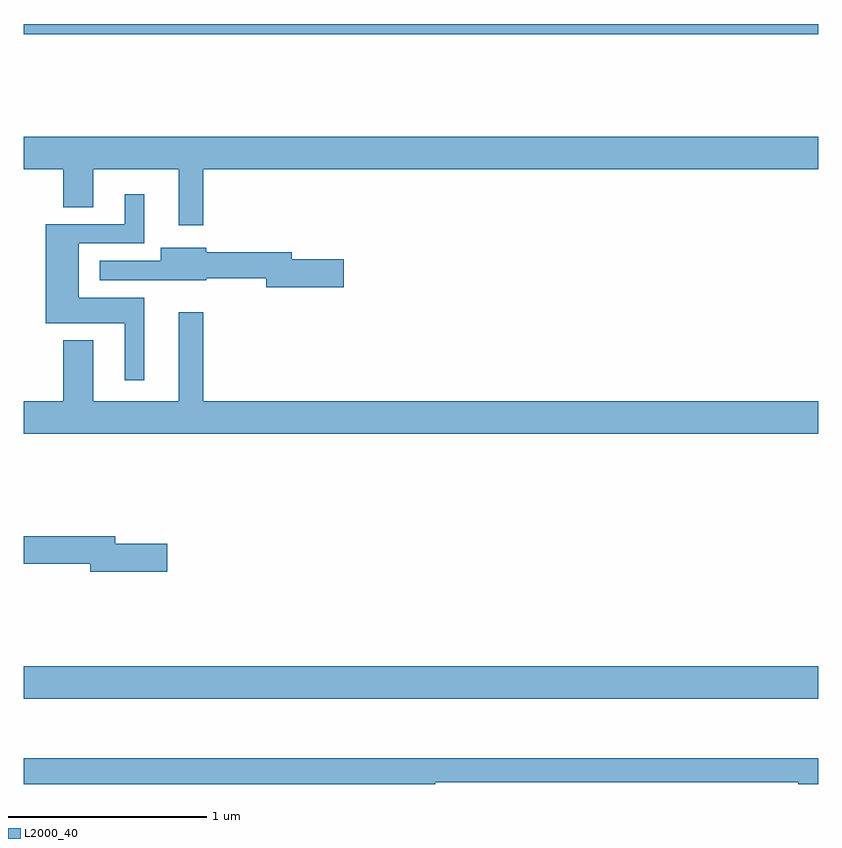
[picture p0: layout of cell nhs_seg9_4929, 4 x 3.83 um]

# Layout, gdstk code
import gdstk
lib = gdstk.Library(unit=1e-6, precision=1e-09)
def R(c, l, rs):  # rectangles x0, y0, x1, y1
    for r in rs: c.add(gdstk.rectangle(r[:2], r[2:], *l))
def P(c, l, *ps):  # polygons
    for p in ps: c.add(gdstk.Polygon(p, *l))
L2000_40 = (2000, 40)

nhs_seg9_4929 = lib.new_cell('nhs_seg9_4929')
R(nhs_seg9_4929, L2000_40, [(397,1179.104,401,1179.268), (397,1182.448,401,1182.5)])
P(nhs_seg9_4929, L2000_40, [(397.903,1181.768),(401,1181.768),(401,1181.932),(397,1181.932),(397,1181.768),(397.199,1181.768),(397.199,1181.578),(397.351,1181.578),(397.351,1181.768),(397.781,1181.768),(397.781,1181.487),(397.903,1181.487)],
  [(397.606,1181.122),(397.276,1181.122),(397.276,1181.397),(397.606,1181.397),(397.606,1181.644),(397.508,1181.644),(397.508,1181.493),(397.112,1181.493),(397.112,1180.994),(397.508,1180.994),(397.508,1180.707),(397.606,1180.707)],
  [(398.611,1181.316),(398.35,1181.316),(398.35,1181.35),(397.918,1181.35),(397.918,1181.374),(397.691,1181.374),(397.691,1181.307),(397.383,1181.307),(397.383,1181.211),(397.695,1181.211),(397.695,1181.21),(397.918,1181.21),(397.918,1181.221),(398.222,1181.221),(398.222,1181.174),(398.611,1181.174)],
  [(401,1180.6),(397.903,1180.6),(397.903,1181.05),(397.781,1181.05),(397.781,1180.6),(397.351,1180.6),(397.351,1180.909),(397.199,1180.909),(397.199,1180.6),(397,1180.6),(397,1180.436),(401,1180.436)],
  [(397.723,1179.884),(397.462,1179.884),(397.462,1179.92),(397,1179.92),(397,1179.784),(397.334,1179.784),(397.334,1179.742),(397.723,1179.742)],
  [(399.071,1178.682),(400.9,1178.682),(400.9,1178.674),(401,1178.674),(401,1178.803),(397,1178.803),(397,1178.674),(399.071,1178.674)])

lib.write_gds('nhs_seg9_4929.gds')
